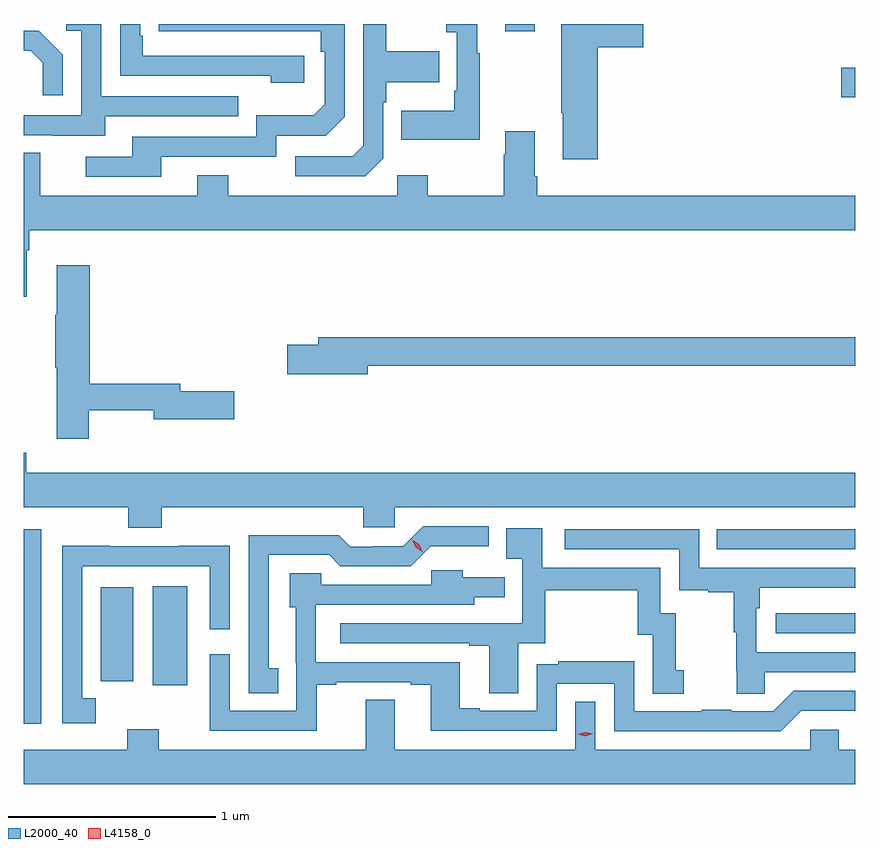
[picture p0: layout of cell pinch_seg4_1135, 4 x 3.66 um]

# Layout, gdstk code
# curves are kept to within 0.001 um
import gdstk
lib = gdstk.Library(unit=1e-6, precision=1e-09)
def R(c, l, rs):  # rectangles x0, y0, x1, y1
    for r in rs: c.add(gdstk.rectangle(r[:2], r[2:], *l))
def P(c, l, *ps):  # polygons
    for p in ps: c.add(gdstk.Polygon(p, *l))
L2000_40 = (2000, 40)
L4158_0 = (4158, 0)

pinch_seg4_1135 = lib.new_cell('pinch_seg4_1135')
R(pinch_seg4_1135, L2000_40, [(468.43,777.129,468.514,778.066), (469.052,777.315,469.216,777.79), (468.8,777.333,468.958,777.787), (472.047,777.564,472.43,777.66), (471.763,777.969,472.43,778.065), (472.362,780.142,472.43,780.284), (470.747,780.459,470.887,780.495)])
P(pinch_seg4_1135, L2000_40, [(471.191,780.383),(471.409,780.383),(471.409,780.495),(471.016,780.495),(471.016,780.067),(471.023,780.067),(471.023,779.844),(471.191,779.844)],
  [(468.823,780.051),(469.463,780.051),(469.463,780.147),(468.804,780.147),(468.804,780.495),(468.636,780.495),(468.636,780.462),(468.708,780.462),(468.708,780.057),(468.43,780.057),(468.43,779.961),(468.569,779.961),(468.569,779.957),(468.823,779.957)],
  [(470.623,780.355),(470.611,780.355),(470.611,780.495),(470.463,780.495),(470.463,780.455),(470.514,780.455),(470.514,780.175),(470.502,780.175),(470.502,780.079),(470.245,780.079),(470.245,779.939),(470.623,779.939)],
  [(469.78,780.342),(469.003,780.342),(469.003,780.439),(468.99,780.439),(468.99,780.495),(468.894,780.495),(468.894,780.246),(469.619,780.246),(469.619,780.212),(469.78,780.212)],
  [(470.16,779.85),(470.16,780.119),(470.173,780.119),(470.173,780.215),(470.429,780.215),(470.429,780.363),(470.173,780.363),(470.173,780.495),(470.064,780.495),(470.064,779.91),(470.013,779.859),(469.737,779.859),(469.737,779.763),(470.073,779.763)],
  [(469.093,779.856),(469.644,779.856),(469.644,779.958),(469.884,779.958),(469.974,780.048),(469.974,780.495),(469.081,780.495),(469.081,780.46),(469.858,780.459),(469.858,780.362),(469.878,780.362),(469.878,780.108),(469.825,780.055),(469.548,780.055),(469.548,779.952),(468.953,779.952),(468.953,779.856),(468.729,779.856),(468.729,779.76),(469.093,779.76)],
  [(468.618,780.346),(468.502,780.462),(468.43,780.462),(468.43,780.366),(468.464,780.366),(468.521,780.309),(468.521,780.153),(468.618,780.153)],
  [(468.445,779.408),(468.458,779.408),(468.458,779.504),(472.43,779.504),(472.43,779.668),(470.9,779.668),(470.9,779.764),(470.887,779.764),(470.887,779.98),(470.747,779.98),(470.747,779.867),(470.74,779.867),(470.74,779.668),(470.373,779.668),(470.373,779.767),(470.226,779.767),(470.226,779.668),(469.413,779.668),(469.413,779.767),(469.265,779.767),(469.265,779.668),(468.511,779.668),(468.511,779.876),(468.43,779.876),(468.43,779.184),(468.445,779.184)],
  [(468.744,778.638),(469.055,778.638),(469.055,778.595),(469.444,778.595),(469.444,778.73),(469.183,778.73),(469.183,778.766),(468.749,778.766),(468.749,779.335),(468.59,779.335),(468.59,779.096),(468.583,779.096),(468.583,778.843),(468.59,778.843),(468.59,778.5),(468.744,778.5)],
  [(470.086,778.852),(472.43,778.852),(472.43,778.988),(469.847,778.988),(469.847,778.952),(469.698,778.952),(469.698,778.81),(470.086,778.81)],
  [(469.094,778.172),(470.064,778.172),(470.064,778.074),(470.214,778.074),(470.214,778.172),(472.43,778.172),(472.43,778.336),(468.443,778.336),(468.443,778.432),(468.43,778.432),(468.43,778.172),(468.934,778.172),(468.934,778.073),(469.094,778.073)],
  [(469.655,777.396),(469.609,777.396),(469.608,777.942),(469.899,777.942),(469.953,777.888),(470.292,777.888),(470.388,777.984),(470.667,777.984),(470.667,778.08),(470.352,778.08),(470.256,777.984),(470.111,777.984),(470.111,777.981),(470.001,777.981),(469.946,778.037),(469.512,778.037),(469.512,777.277),(469.655,777.277)],
  [(471.604,777.388),(471.565,777.388),(471.565,777.661),(471.492,777.661),(471.492,777.879),(470.925,777.879),(470.925,778.069),(470.752,778.069),(470.752,777.923),(470.829,777.923),(470.829,777.612),(469.953,777.612),(469.953,777.516),(470.573,777.516),(470.573,777.504),(470.669,777.504),(470.669,777.277),(470.809,777.277),(470.809,777.516),(470.938,777.516),(470.938,777.771),(471.384,777.771),(471.384,777.557),(471.456,777.557),(471.456,777.274),(471.604,777.274)],
  [(471.995,777.378),(472.43,777.378),(472.43,777.474),(471.954,777.474),(471.954,777.686),(471.97,777.686),(471.97,777.783),(472.43,777.783),(472.43,777.879),(471.678,777.879),(471.678,778.065),(471.033,778.065),(471.033,777.969),(471.582,777.969),(471.582,777.771),(471.723,777.771),(471.723,777.763),(471.846,777.763),(471.846,777.571),(471.856,777.571),(471.856,777.385),(471.859,777.385),(471.859,777.274),(471.995,777.274)],
  [(468.778,777.252),(468.711,777.252),(468.711,777.888),(469.326,777.888),(469.326,777.585),(469.422,777.585),(469.422,777.986),(469.177,777.986),(469.177,777.984),(468.845,777.984),(468.845,777.986),(468.615,777.986),(468.615,777.132),(468.778,777.132)],
  [(472.17,777.192),(472.43,777.192),(472.43,777.288),(472.134,777.288),(472.035,777.189),(471.832,777.189),(471.832,777.198),(471.691,777.198),(471.691,777.189),(471.366,777.189),(471.366,777.43),(471.001,777.43),(471.001,777.417),(470.898,777.417),(470.898,777.192),(470.623,777.192),(470.623,777.205),(470.527,777.205),(470.527,777.426),(469.836,777.426),(469.836,777.702),(470.596,777.702),(470.596,777.738),(470.744,777.738),(470.744,777.834),(470.542,777.834),(470.542,777.867),(470.391,777.867),(470.391,777.798),(469.861,777.798),(469.861,777.854),(469.709,777.854),(469.709,777.689),(469.739,777.689),(469.74,777.192),(469.422,777.192),(469.422,777.463),(469.326,777.463),(469.326,777.096),(469.839,777.096),(469.839,777.318),(469.933,777.318),(469.933,777.33),(470.291,777.33),(470.291,777.318),(470.387,777.318),(470.387,777.096),(470.994,777.096),(470.994,777.321),(471.27,777.321),(471.27,777.093),(472.071,777.093)],
  [(472.43,777.004),(472.351,777.004),(472.351,777.102),(472.212,777.102),(472.212,777.004),(471.18,777.004),(471.18,777.236),(471.084,777.236),(471.084,777.004),(470.215,777.004),(470.215,777.245),(470.075,777.245),(470.075,777.004),(469.081,777.004),(469.081,777.103),(468.929,777.103),(468.929,777.004),(468.43,777.004),(468.43,776.84),(472.43,776.84)])
P(pinch_seg4_1135, L4158_0, [(471.132,777.07),(471.096,777.079),(471.096,777.08),(471.096,777.08),(471.132,777.09),(471.168,777.081),(471.168,777.081),(471.168,777.081)],
  [(470.347,777.957),(470.316,777.978),(470.3,778.012),(470.3,778.012),(470.301,778.012),(470.332,777.991),(470.348,777.958),(470.348,777.957)])

lib.write_gds('pinch_seg4_1135.gds')
